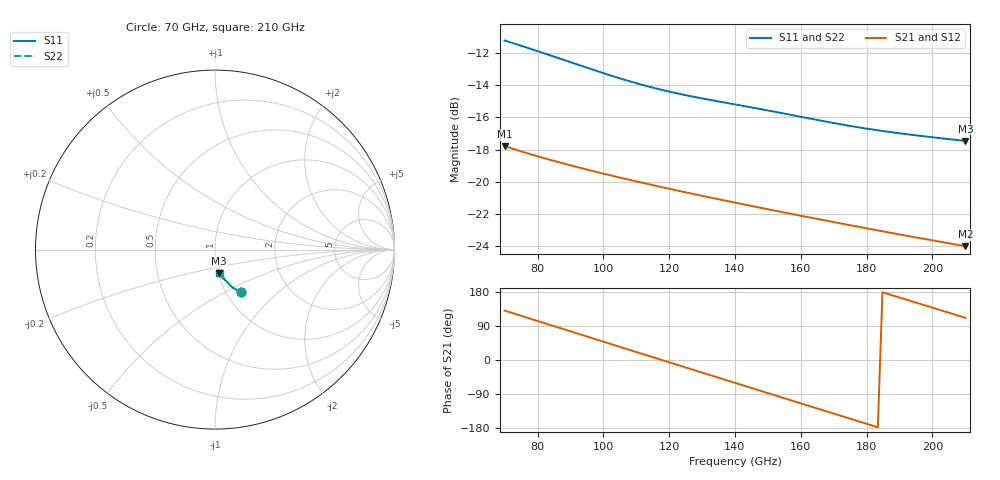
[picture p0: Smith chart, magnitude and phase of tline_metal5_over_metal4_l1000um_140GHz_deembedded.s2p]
! Created with skrf 2.2.0 (http://scikit-rf.org).
# GHz S DB R 50.0
! Port[1] = P1
! Port[2] = P2
!freq dBS11 angS11 dBS21 angS21 dBS12 angS12 dBS22 angS22
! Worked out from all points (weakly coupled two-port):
!   101 points, 70 GHz to 210 GHz, reference 50 ohm
!   highest |S21| = -17.78 dB at 70 GHz (marker M1); lowest = -24.0 dB at 210 GHz (marker M2)
!   lowest |S11| = -17.5 dB at 210 GHz (marker M3), VSWR 1.31, Z = 50.4 - j13.6 ohm
!   |S11| at or under -10 dB: start of sweep to end of sweep
!   |S22| runs from -17.6 to -11.2 dB; largest |S21 - S12| = 8.4e-14
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70  -11.21 -58.7  -17.78 130.4  -17.78 130.4  -11.21 -58.5
75.6  -11.58 -60.5  -18.14 115.0  -18.14 115.0  -11.58 -60.2
81.2  -11.95 -62.2  -18.48 99.7  -18.48 99.7  -11.96 -62.0
86.8  -12.33 -63.9  -18.80 84.4  -18.80 84.4  -12.35 -63.6
93.8  -12.82 -65.7  -19.17 65.3  -19.17 65.3  -12.84 -65.5
100.8  -13.29 -67.2  -19.53 46.2  -19.53 46.2  -13.33 -66.9
106.4  -13.65 -68.1  -19.80 31.0  -19.80 31.0  -13.70 -67.8
112  -13.98 -68.9  -20.07 15.7  -20.07 15.7  -14.04 -68.6
117.6  -14.27 -69.5  -20.32 0.5  -20.32 0.5  -14.35 -69.2
127.4  -14.71 -70.7  -20.76 -26.1  -20.76 -26.1  -14.81 -70.2
134.4  -14.98 -71.6  -21.06 -45.1  -21.06 -45.1  -15.09 -71.0
140  -15.19 -72.5  -21.30 -60.3  -21.30 -60.3  -15.31 -71.8
145.6  -15.40 -73.4  -21.53 -75.5  -21.53 -75.5  -15.53 -72.6
151.2  -15.61 -74.3  -21.76 -90.7  -21.76 -90.7  -15.75 -73.3
156.8  -15.83 -75.2  -21.98 -105.8  -21.98 -105.8  -15.97 -74.1
163.8  -16.11 -76.1  -22.26 -124.7  -22.26 -124.7  -16.25 -74.9
170.8  -16.37 -76.9  -22.54 -143.6  -22.54 -143.6  -16.52 -75.5
176.4  -16.57 -77.5  -22.76 -158.7  -22.76 -158.7  -16.72 -76.0
182  -16.76 -77.9  -22.97 -173.7  -22.97 -173.7  -16.90 -76.3
187.6  -16.92 -78.4  -23.18 171.3  -23.18 171.3  -17.06 -76.7
200.2  -17.23 -79.5  -23.65 137.5  -23.65 137.5  -17.38 -77.6
210  -17.46 -80.5  -24.00 111.2  -24.00 111.2  -17.62 -78.5
